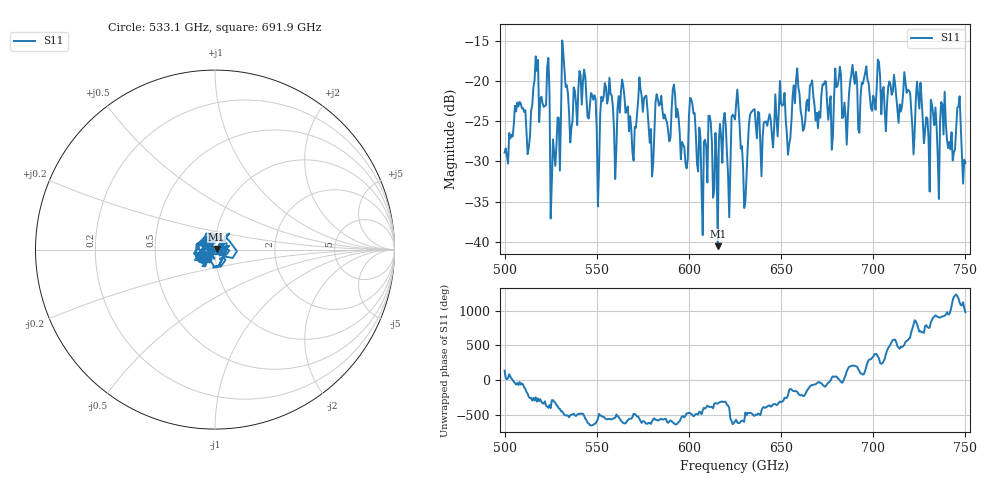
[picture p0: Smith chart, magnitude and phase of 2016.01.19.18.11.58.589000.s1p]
!Created with skrf (http://scikit-rf.org).
# GHz S RI R 50.0
!freq ReS11 ImS11
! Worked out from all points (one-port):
!   401 points, 500 GHz to 750 GHz, reference 50 ohm
!   lowest |S11| = -40.5 dB at 615.6 GHz (marker M1), VSWR 1.02, Z = 50.9 + j0.352 ohm
!   |S11| at or under -10 dB: start of sweep to end of sweep
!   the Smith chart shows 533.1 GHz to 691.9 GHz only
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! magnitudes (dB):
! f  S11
! 500 GHz  -28.9
! 506.9 GHz  -22.7
! 513.1 GHz  -28.3
! 516.9 GHz  -17.0
! 523.1 GHz  -18.2
! 526.2 GHz  -27.3
! 531.2 GHz  -15.0
! 548.1 GHz  -22.3
! 550.6 GHz  -35.6
! 553.8 GHz  -21.9
! 560 GHz  -32.2
! 562.5 GHz  -23.9
! 570 GHz  -29.9
! 574.4 GHz  -21.9
! 580 GHz  -31.9
! 583.1 GHz  -22.2
! 593.8 GHz  -23.5
! 615.6 GHz  -40.5
! 621.9 GHz  -36.9
! 625 GHz  -24.8
! 630.6 GHz  -34.9
! 634.4 GHz  -23.7
! 656.2 GHz  -21.9
! 687.5 GHz  -20.1
! 718.8 GHz  -21.1
! 729.4 GHz  -24.7
! 746.2 GHz  -23.2
! 750 GHz  -30.2
